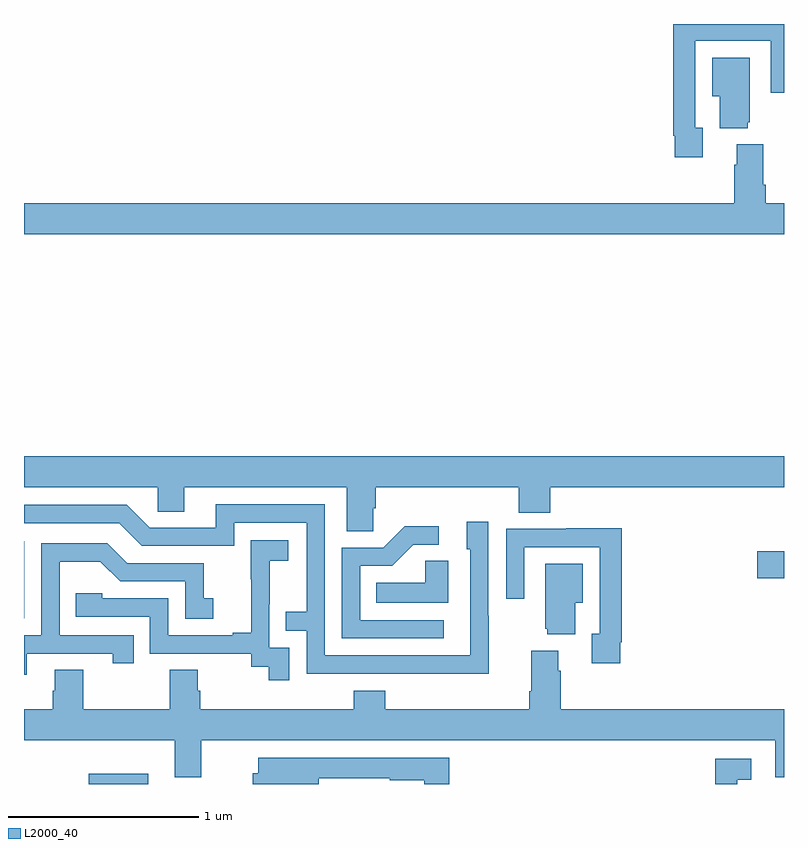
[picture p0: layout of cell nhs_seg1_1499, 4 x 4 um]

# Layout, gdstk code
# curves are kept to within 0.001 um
import gdstk
lib = gdstk.Library(unit=1e-6, precision=1e-09)
def R(c, l, rs):  # rectangles x0, y0, x1, y1
    for r in rs: c.add(gdstk.rectangle(r[:2], r[2:], *l))
def P(c, l, *ps):  # polygons
    for p in ps: c.add(gdstk.Polygon(p, *l))
L2000_40 = (2000, 40)

nhs_seg1_1499 = lib.new_cell('nhs_seg1_1499')
R(nhs_seg1_1499, L2000_40, [(193.341,522.199,193.653,522.253), (193,523.071,193.002,523.477), (196.86,523.283,197,523.425)])
P(nhs_seg1_1499, L2000_40, [(196.573,525.654),(196.533,525.654),(196.533,526.11),(196.929,526.11),(196.929,525.837),(197,525.837),(197,526.199),(196.417,526.199),(196.417,525.61),(196.425,525.61),(196.425,525.498),(196.573,525.498)],
  [(196.808,525.681),(196.819,525.681),(196.819,526.021),(196.622,526.021),(196.622,525.818),(196.661,525.818),(196.661,525.65),(196.808,525.65)],
  [(197,525.256),(196.904,525.256),(196.904,525.352),(196.891,525.352),(196.891,525.565),(196.751,525.565),(196.751,525.458),(196.739,525.458),(196.739,525.256),(193,525.256),(193,525.092),(197,525.092)],
  [(194.838,523.651),(194.852,523.651),(194.852,523.76),(195.605,523.76),(195.605,523.627),(195.77,523.627),(195.77,523.76),(197,523.76),(197,523.924),(193,523.924),(193,523.76),(193.704,523.76),(193.704,523.633),(193.843,523.633),(193.843,523.76),(194.699,523.76),(194.699,523.528),(194.838,523.528)],
  [(195.447,523.085),(195.444,523.085),(195.444,523.579),(195.329,523.579),(195.329,523.434),(195.348,523.434),(195.348,522.876),(194.583,522.876),(194.583,523.671),(194.009,523.671),(194.009,523.548),(193.662,523.548),(193.542,523.668),(193,523.668),(193,523.572),(193.5,523.572),(193.62,523.452),(194.106,523.452),(194.106,523.575),(194.487,523.575),(194.487,523.106),(194.377,523.106),(194.377,523.005),(194.487,523.005),(194.487,522.78),(195.447,522.779)],
  [(195.208,523.062),(194.769,523.062),(194.769,523.347),(194.938,523.347),(195.049,523.458),(195.184,523.458),(195.184,523.556),(195.005,523.556),(194.892,523.443),(194.673,523.443),(194.673,522.966),(195.208,522.966)],
  [(196.138,522.946),(196.145,522.946),(196.145,523.544),(195.853,523.544),(195.853,523.542),(195.537,523.542),(195.537,523.173),(195.633,523.173),(195.633,523.446),(196.029,523.446),(196.029,522.99),(195.989,522.99),(195.989,522.834),(196.138,522.834)],
  [(194.397,522.915),(194.292,522.915),(194.292,523.145),(194.294,523.145),(194.294,523.373),(194.392,523.373),(194.392,523.483),(194.194,523.483),(194.194,523.277),(194.195,523.277),(194.195,522.994),(194.099,522.994),(194.099,522.981),(193.758,522.981),(193.758,523.176),(193.413,523.176),(193.413,523.203),(193.273,523.203),(193.273,523.08),(193.662,523.08),(193.662,522.885),(194.196,522.885),(194.196,522.817),(194.289,522.817),(194.289,522.746),(194.397,522.746)],
  [(193.015,522.885),(193.466,522.885),(193.466,522.834),(193.577,522.834),(193.577,522.981),(193.188,522.981),(193.188,523.37),(193.402,523.37),(193.506,523.266),(193.848,523.266),(193.848,523.068),(193.996,523.068),(193.996,523.177),(193.947,523.177),(193.947,523.362),(193.543,523.362),(193.438,523.467),(193.092,523.467),(193.092,522.981),(193,522.981),(193,522.774),(193.015,522.774)],
  [(195.232,523.373),(195.111,523.373),(195.111,523.258),(194.854,523.258),(194.854,523.154),(195.232,523.154)],
  [(195.901,523.154),(195.94,523.154),(195.94,523.357),(195.743,523.357),(195.743,523.017),(195.755,523.017),(195.755,522.986),(195.901,522.986)],
  [(193.933,522.428),(196.955,522.428),(196.955,522.234),(197,522.234),(197,522.592),(195.824,522.592),(195.824,522.794),(195.811,522.794),(195.811,522.901),(195.671,522.901),(195.671,522.688),(195.659,522.688),(195.659,522.592),(194.9,522.592),(194.9,522.691),(194.735,522.691),(194.735,522.592),(193.928,522.592),(193.928,522.69),(193.915,522.69),(193.915,522.8),(193.768,522.8),(193.768,522.592),(193.311,522.592),(193.311,522.8),(193.163,522.8),(193.163,522.69),(193.151,522.69),(193.151,522.592),(193,522.592),(193,522.428),(193.793,522.428),(193.793,522.234),(193.933,522.234)],
  [(194.551,522.228),(194.926,522.228),(194.926,522.22),(195.107,522.22),(195.107,522.199),(195.239,522.199),(195.239,522.336),(194.447,522.336),(194.447,522.337),(194.234,522.337),(194.234,522.256),(194.204,522.256),(194.204,522.199),(194.551,522.199)],
  [(196.755,522.221),(196.828,522.221),(196.828,522.331),(196.639,522.331),(196.639,522.199),(196.755,522.199)])

lib.write_gds('nhs_seg1_1499.gds')
